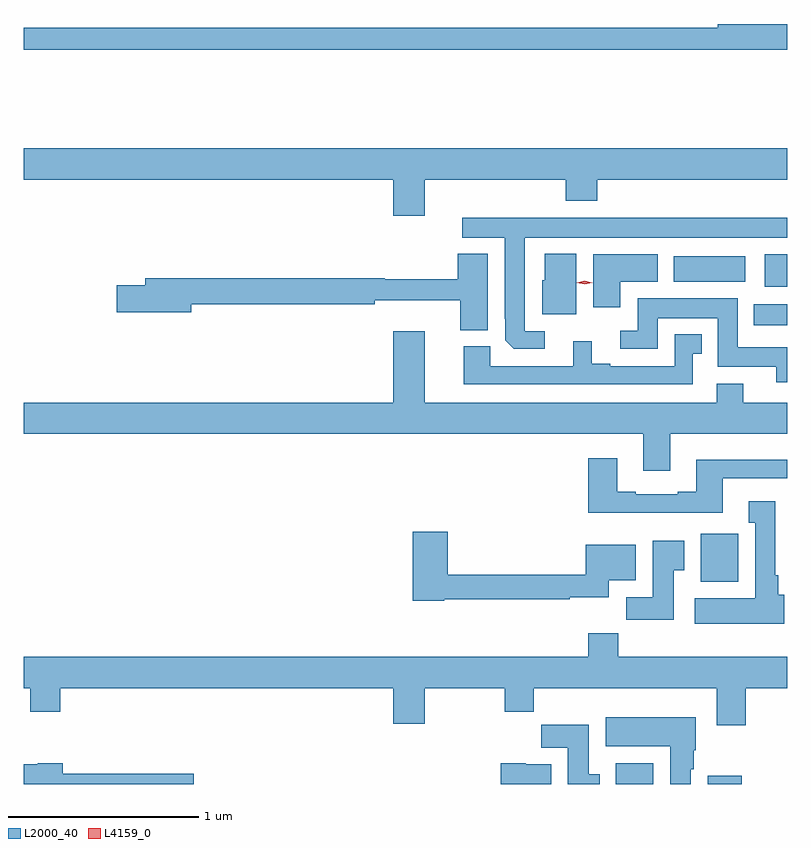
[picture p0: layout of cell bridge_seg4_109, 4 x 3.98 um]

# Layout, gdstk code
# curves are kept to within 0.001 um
import gdstk
lib = gdstk.Library(unit=1e-6, precision=1e-09)
def R(c, l, rs):  # rectangles x0, y0, x1, y1
    for r in rs: c.add(gdstk.rectangle(r[:2], r[2:], *l))
def P(c, l, *ps):  # polygons
    for p in ps: c.add(gdstk.Polygon(p, *l))
L2000_40 = (2000, 40)
L4159_0 = (4159, 0)

bridge_seg4_109 = lib.new_cell('bridge_seg4_109')
R(bridge_seg4_109, L2000_40, [(549.791,760.353,549.987,760.462), (550.271,760.353,550.45,760.396), (550.235,761.414,550.431,761.665), (550.514,762.758,550.688,762.868), (550.571,762.959,550.688,763.129), (550.094,762.986,550.468,763.12)])
P(bridge_seg4_109, L2000_40, [(550.688,764.336),(550.324,764.336),(550.324,764.317),(550.072,764.317),(550.072,764.316),(546.688,764.316),(546.688,764.2),(550.688,764.2)],
  [(548.788,763.52),(549.527,763.52),(549.527,763.409),(549.692,763.409),(549.692,763.52),(550.688,763.52),(550.688,763.684),(546.688,763.684),(546.688,763.52),(548.624,763.52),(548.624,763.332),(548.788,763.332)],
  [(549.418,762.726),(549.313,762.726),(549.313,763.217),(550.688,763.217),(550.688,763.321),(548.985,763.321),(548.985,763.217),(549.209,763.217),(549.21,762.679),(549.256,762.633),(549.418,762.633)],
  [(549.583,763.132),(549.419,763.132),(549.419,762.993),(549.404,762.993),(549.404,762.816),(549.583,762.816)],
  [(549.118,763.132),(548.963,763.132),(548.963,762.997),(548.579,762.997),(548.579,763.004),(547.325,763.004),(547.325,762.968),(547.176,762.968),(547.176,762.826),(547.564,762.826),(547.564,762.868),(548.528,762.868),(548.528,762.887),(548.975,762.887),(548.975,762.731),(549.118,762.731)],
  [(549.814,762.986),(550.009,762.986),(550.009,763.129),(549.671,763.129),(549.671,762.852),(549.814,762.852)],
  [(550.688,762.643),(550.429,762.643),(550.429,762.898),(549.905,762.898),(549.905,762.729),(549.813,762.729),(549.813,762.633),(550.009,762.633),(550.009,762.794),(550.325,762.794),(550.325,762.539),(550.631,762.539),(550.631,762.459),(550.688,762.459)],
  [(550.075,762.188),(550.688,762.188),(550.688,762.352),(550.459,762.352),(550.459,762.451),(550.319,762.451),(550.319,762.352),(548.788,762.352),(548.788,762.727),(548.624,762.727),(548.624,762.352),(546.688,762.352),(546.688,762.188),(549.935,762.188),(549.935,761.994),(550.075,761.994)],
  [(550.194,762.609),(550.24,762.609),(550.24,762.709),(550.098,762.709),(550.098,762.543),(549.76,762.543),(549.76,762.556),(549.664,762.556),(549.664,762.673),(549.566,762.673),(549.566,762.543),(549.132,762.543),(549.132,762.646),(548.993,762.646),(548.993,762.447),(550.194,762.447)],
  [(550.351,761.955),(550.688,761.955),(550.688,762.052),(550.211,762.052),(550.211,761.884),(550.115,761.884),(550.115,761.871),(549.895,761.871),(549.895,761.884),(549.799,761.884),(549.799,762.061),(549.647,762.061),(549.647,761.774),(550.351,761.774)],
  [(550.672,761.346),(550.642,761.346),(550.642,761.446),(550.627,761.446),(550.627,761.836),(550.487,761.836),(550.487,761.723),(550.52,761.723),(550.52,761.326),(550.203,761.326),(550.203,761.192),(550.672,761.192)],
  [(548.892,761.322),(549.548,761.322),(549.548,761.333),(549.754,761.333),(549.754,761.42),(549.895,761.42),(549.895,761.608),(549.632,761.608),(549.632,761.45),(548.909,761.45),(548.909,761.674),(548.726,761.674),(548.726,761.314),(548.892,761.314)],
  [(550.093,761.473),(550.15,761.473),(550.15,761.629),(549.983,761.629),(549.983,761.332),(549.844,761.332),(549.844,761.214),(550.093,761.214)],
  [(550.472,760.856),(550.688,760.856),(550.688,761.02),(549.803,761.02),(549.803,761.144),(549.647,761.144),(549.647,761.02),(546.688,761.02),(546.688,760.856),(546.721,760.856),(546.721,760.732),(546.878,760.732),(546.878,760.856),(548.624,760.856),(548.624,760.668),(548.788,760.668),(548.788,760.856),(549.208,760.856),(549.208,760.732),(549.359,760.732),(549.359,760.856),(550.319,760.856),(550.319,760.662),(550.472,760.662)],
  [(550.183,760.43),(550.198,760.43),(550.198,760.53),(550.21,760.53),(550.21,760.702),(549.737,760.702),(549.737,760.55),(550.076,760.55),(550.076,760.353),(550.183,760.353)],
  [(549.706,760.404),(549.649,760.404),(549.649,760.663),(549.4,760.663),(549.4,760.544),(549.539,760.544),(549.539,760.353),(549.706,760.353)],
  [(549.451,760.456),(549.318,760.456),(549.318,760.462),(549.188,760.462),(549.188,760.353),(549.451,760.353)],
  [(547.577,760.408),(546.893,760.408),(546.893,760.462),(546.762,760.462),(546.762,760.456),(546.688,760.456),(546.688,760.353),(547.577,760.353)])
P(bridge_seg4_109, L4159_0, [(549.627,762.971),(549.586,762.981),(549.586,762.981),(549.586,762.981),(549.627,762.991),(549.668,762.981),(549.668,762.98),(549.668,762.98)])

lib.write_gds('bridge_seg4_109.gds')
